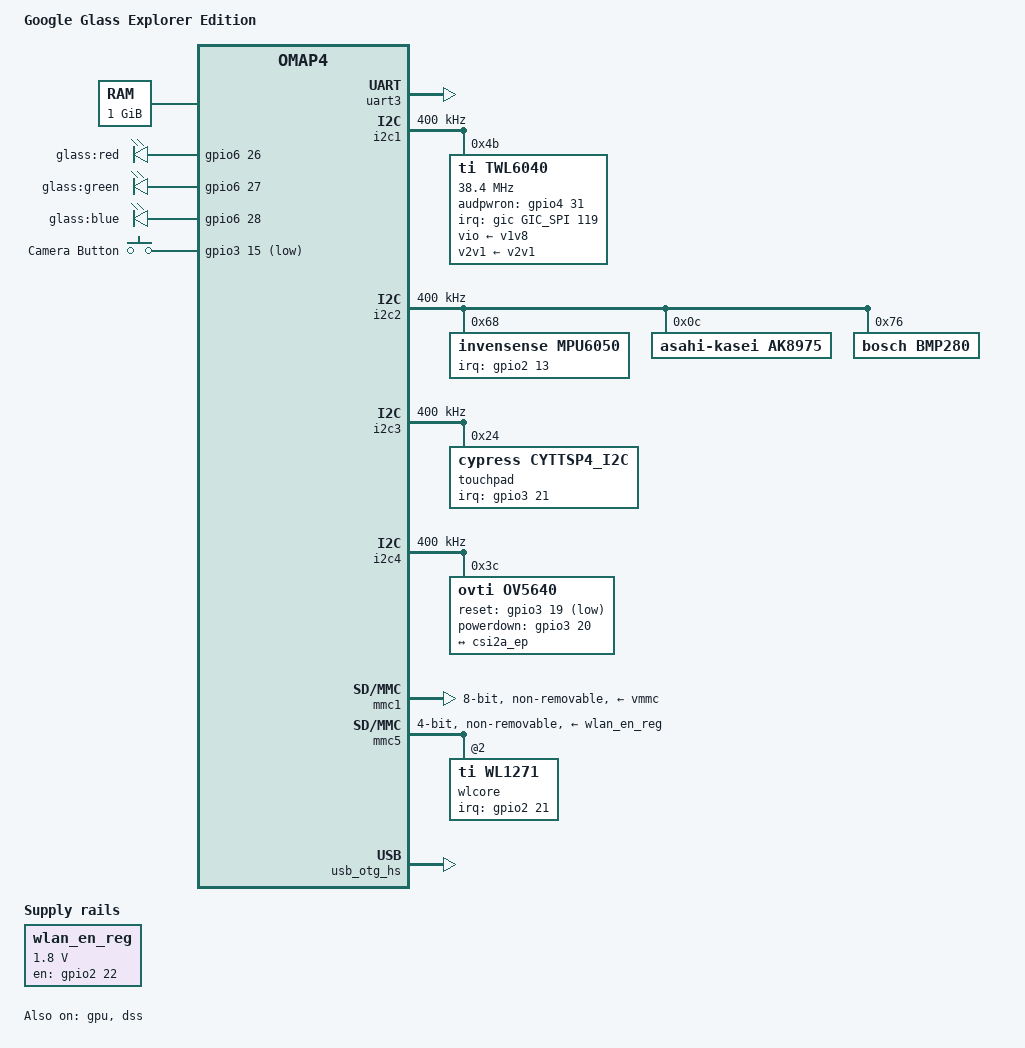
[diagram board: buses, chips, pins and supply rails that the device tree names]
/*
 * GlassPorts Device Tree
 * Google Glass Explorer Edition - TI OMAP4430
 */

/dts-v1/;

#include "omap4.dtsi"

/ {
    model = "Google Glass Explorer Edition";
    compatible = "google,glass", "ti,omap4430", "ti,omap4";

    memory@80000000 {
        device_type = "memory";
        reg = <0x80000000 0x40000000>; /* 1GB */
    };

    chosen {
        bootargs = "console=ttyO2,115200n8 mem=1G vmalloc=496M androidboot.hardware=glass";
    };

    aliases {
        display0 = &lcd0;
    };

    /* WiFi power */
    wlan_en_reg: fixedregulator-wlan {
        compatible = "regulator-fixed";
        regulator-name = "wlan-en-regulator";
        regulator-min-microvolt = <1800000>;
        regulator-max-microvolt = <1800000>;
        gpio = <&gpio2 22 GPIO_ACTIVE_HIGH>; /* GPIO 54 */
        startup-delay-us = <70000>;
        enable-active-high;
    };

    /* Glass prism display */
    lcd0: display {
        compatible = "google,glass-display";
        label = "glass-prism";

        /* LCoS display 640x360 */
        panel-timing {
            clock-frequency = <27000000>;
            hactive = <640>;
            vactive = <360>;
            hfront-porch = <16>;
            hback-porch = <48>;
            hsync-len = <96>;
            vfront-porch = <10>;
            vback-porch = <33>;
            vsync-len = <2>;
        };
    };

    /* Bone conduction speaker */
    sound {
        compatible = "google,glass-audio";
        ti,model = "Glass-Audio";
        ti,mcbsp = <&mcbsp2>;
        ti,codec = <&twl6040>;
    };

    /* RGB LED */
    leds {
        compatible = "gpio-leds";

        led-red {
            label = "glass:red";
            gpios = <&gpio6 26 GPIO_ACTIVE_HIGH>; /* GPIO 186 */
        };

        led-green {
            label = "glass:green";
            gpios = <&gpio6 27 GPIO_ACTIVE_HIGH>; /* GPIO 187 */
        };

        led-blue {
            label = "glass:blue";
            gpios = <&gpio6 28 GPIO_ACTIVE_HIGH>; /* GPIO 188 */
        };
    };

    /* GPIO keys */
    gpio-keys {
        compatible = "gpio-keys";

        camera-button {
            label = "Camera Button";
            linux,code = <212>; /* KEY_CAMERA */
            gpios = <&gpio3 15 GPIO_ACTIVE_LOW>; /* GPIO 79 */
            wakeup-source;
        };
    };
};

/* UART for console */
&uart3 {
    status = "okay";
};

/* I2C buses */
&i2c1 {
    status = "okay";
    clock-frequency = <400000>;

    twl6040: twl6040@4b {
        compatible = "ti,twl6040";
        reg = <0x4b>;

        interrupts-extended = <&gic GIC_SPI 119 IRQ_TYPE_LEVEL_HIGH>;

        ti,audpwron-gpio = <&gpio4 31 GPIO_ACTIVE_HIGH>;

        vio-supply = <&v1v8>;
        v2v1-supply = <&v2v1>;

        #clock-cells = <0>;
        clock-frequency = <38400000>;
    };
};

&i2c2 {
    status = "okay";
    clock-frequency = <400000>;

    /* MPU6050 IMU */
    mpu6050@68 {
        compatible = "invensense,mpu6050";
        reg = <0x68>;
        interrupt-parent = <&gpio2>;
        interrupts = <13 IRQ_TYPE_EDGE_RISING>;
    };

    /* AK8975 Magnetometer */
    ak8975@0c {
        compatible = "asahi-kasei,ak8975";
        reg = <0x0c>;
    };

    /* BMP280 Pressure sensor */
    bmp280@76 {
        compatible = "bosch,bmp280";
        reg = <0x76>;
    };
};

&i2c3 {
    status = "okay";
    clock-frequency = <400000>;

    /* Cypress touchpad */
    touchpad@24 {
        compatible = "cypress,cyttsp4_i2c";
        reg = <0x24>;
        interrupt-parent = <&gpio3>;
        interrupts = <21 IRQ_TYPE_EDGE_FALLING>;
    };
};

&i2c4 {
    status = "okay";
    clock-frequency = <400000>;

    /* OV5640 Camera */
    ov5640@3c {
        compatible = "ovti,ov5640";
        reg = <0x3c>;

        clocks = <&isp 0>;
        clock-names = "xclk";

        reset-gpios = <&gpio3 19 GPIO_ACTIVE_LOW>;
        powerdown-gpios = <&gpio3 20 GPIO_ACTIVE_HIGH>;

        port {
            ov5640_ep: endpoint {
                remote-endpoint = <&csi2a_ep>;
                clock-lanes = <0>;
                data-lanes = <1 2>;
            };
        };
    };
};

/* eMMC */
&mmc1 {
    status = "okay";
    vmmc-supply = <&vmmc>;
    bus-width = <8>;
    non-removable;
};

/* WiFi - WL1271 */
&mmc5 {
    status = "okay";
    vmmc-supply = <&wlan_en_reg>;
    bus-width = <4>;
    non-removable;
    cap-power-off-card;
    keep-power-in-suspend;

    #address-cells = <1>;
    #size-cells = <0>;

    wlcore: wlcore@2 {
        compatible = "ti,wl1271";
        reg = <2>;
        interrupt-parent = <&gpio2>;
        interrupts = <21 IRQ_TYPE_EDGE_RISING>;
        ref-clock-frequency = <38400000>;
    };
};

/* USB */
&usb_otg_hs {
    status = "okay";
    interface-type = <1>;
    mode = <3>;
    power = <50>;
};

/* GPU */
&gpu {
    status = "okay";
};

/* DSS */
&dss {
    status = "okay";
};
